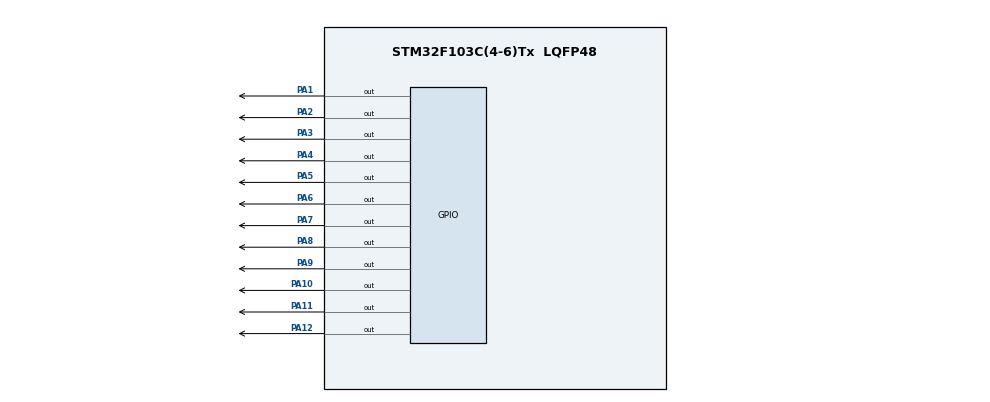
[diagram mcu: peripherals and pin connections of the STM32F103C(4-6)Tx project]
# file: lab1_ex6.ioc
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Mcu.Family=STM32F1
Mcu.Name=STM32F103C(4-6)Tx
Mcu.Package=LQFP48
NVIC.PriorityGroup=NVIC_PRIORITYGROUP_4
PA1.Signal=GPIO_Output
PA10.Signal=GPIO_Output
PA11.Signal=GPIO_Output
PA12.Signal=GPIO_Output
PA2.Signal=GPIO_Output
PA3.Signal=GPIO_Output
PA4.Signal=GPIO_Output
PA5.Signal=GPIO_Output
PA6.Signal=GPIO_Output
PA7.Signal=GPIO_Output
PA8.Signal=GPIO_Output
PA9.Signal=GPIO_Output
ProjectManager.HeapSize=0x200
ProjectManager.StackSize=0x400
ProjectManager.TargetToolchain=STM32CubeIDE
RCC.APB1Freq_Value=8000000
RCC.APB2Freq_Value=8000000
VP_SYS_VS_ND.Mode=No_Debug
board=custom

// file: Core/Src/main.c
/* USER CODE BEGIN Header */
/**
  ******************************************************************************
  * @file           : main.c
  * @brief          : Main program body
  ******************************************************************************
  * @attention
  *
  * <h2><center>&copy; Copyright (c) 2026 STMicroelectronics.
  * All rights reserved.</center></h2>
  *
  * This software component is licensed by ST under BSD 3-Clause license,
  * the "License"; You may not use this file except in compliance with the
  * License. You may obtain a copy of the License at:
  *                        opensource.org/licenses/BSD-3-Clause
  *
  ******************************************************************************
  */
/* USER CODE END Header */
#include "main.h"

void SystemClock_Config(void);
static void MX_GPIO_Init(void);

/* USER CODE BEGIN 0 */
uint16_t clock_pins[12] = {
    GPIO_PIN_1, GPIO_PIN_2, GPIO_PIN_3,
    GPIO_PIN_4, GPIO_PIN_5, GPIO_PIN_6, GPIO_PIN_7,
    GPIO_PIN_8, GPIO_PIN_9, GPIO_PIN_10, GPIO_PIN_11, GPIO_PIN_12
};

void clearAllClock(void) {
    for (int i = 0; i < 12; i++) {
        HAL_GPIO_WritePin(GPIOA, clock_pins[i], GPIO_PIN_SET);
    }
}

void setNumberOnClock(int num) {
    if (num >= 0 && num < 12) {
        HAL_GPIO_WritePin(GPIOA, clock_pins[num], GPIO_PIN_RESET);
    }
}

void clearNumberOnClock(int num) {
    if (num >= 0 && num < 12) {
        HAL_GPIO_WritePin(GPIOA, clock_pins[num], GPIO_PIN_SET);
    }
}
/* USER CODE END 0 */

int main(void)
{

  /* MCU Configuration--------------------------------------------------------*/

  /* Reset of all peripherals, Initializes the Flash interface and the Systick. */
  HAL_Init();

  /* Configure the system clock */
  SystemClock_Config();

  /* Initialize all configured peripherals */
  MX_GPIO_Init();
  /* USER CODE BEGIN 2 */
  int h =1, m=2, s=3;

  /* USER CODE END 2 */

  /* Infinite loop */
  /* USER CODE BEGIN WHILE */
  while (1)
  {
	  clearAllClock();
	  int h_pos = h % 12;
	  int m_pos = m / 5;
	  int s_pos = s / 5;

	  setNumberOnClock(h_pos);
	  setNumberOnClock(m_pos);
	  setNumberOnClock(s_pos);

	  s++;
	  if(s>=60){
		  m++;
		  s=0;
	  }
	  if(m>=60){
		  h++;
		  m=0;
	  }
	  if(h>=12){
		  h=0;
	  }

	  HAL_Delay(50);
    /* USER CODE END WHILE */

  }
}

void SystemClock_Config(void)
{
  RCC_OscInitTypeDef RCC_OscInitStruct = {0};
  RCC_ClkInitTypeDef RCC_ClkInitStruct = {0};

  /** Initializes the RCC Oscillators according to the specified parameters
  * in the RCC_OscInitTypeDef structure.
  */
  RCC_OscInitStruct.OscillatorType = RCC_OSCILLATORTYPE_HSI;
  RCC_OscInitStruct.HSIState = RCC_HSI_ON;
  RCC_OscInitStruct.HSICalibrationValue = RCC_HSICALIBRATION_DEFAULT;
  RCC_OscInitStruct.PLL.PLLState = RCC_PLL_NONE;
  if (HAL_RCC_OscConfig(&RCC_OscInitStruct) != HAL_OK)
  {
    Error_Handler();
  }
  /** Initializes the CPU, AHB and APB buses clocks
  */
  RCC_ClkInitStruct.ClockType = RCC_CLOCKTYPE_HCLK|RCC_CLOCKTYPE_SYSCLK
                              |RCC_CLOCKTYPE_PCLK1|RCC_CLOCKTYPE_PCLK2;
  RCC_ClkInitStruct.SYSCLKSource = RCC_SYSCLKSOURCE_HSI;
  RCC_ClkInitStruct.AHBCLKDivider = RCC_SYSCLK_DIV1;
  RCC_ClkInitStruct.APB1CLKDivider = RCC_HCLK_DIV1;
  RCC_ClkInitStruct.APB2CLKDivider = RCC_HCLK_DIV1;

  if (HAL_RCC_ClockConfig(&RCC_ClkInitStruct, FLASH_LATENCY_0) != HAL_OK)
  {
    Error_Handler();
  }
}

static void MX_GPIO_Init(void)
{
  GPIO_InitTypeDef GPIO_InitStruct = {0};

  /* GPIO Ports Clock Enable */
  __HAL_RCC_GPIOA_CLK_ENABLE();

  /*Configure GPIO pin Output Level */
  HAL_GPIO_WritePin(GPIOA, GPIO_PIN_1|GPIO_PIN_2|GPIO_PIN_3|GPIO_PIN_4
                          |GPIO_PIN_5|GPIO_PIN_6|GPIO_PIN_7|GPIO_PIN_8
                          |GPIO_PIN_9|GPIO_PIN_10|GPIO_PIN_11|GPIO_PIN_12, GPIO_PIN_RESET);

  /*Configure GPIO pins : PA1 PA2 PA3 PA4
                           PA5 PA6 PA7 PA8
                           PA9 PA10 PA11 PA12 */
  GPIO_InitStruct.Pin = GPIO_PIN_1|GPIO_PIN_2|GPIO_PIN_3|GPIO_PIN_4
                          |GPIO_PIN_5|GPIO_PIN_6|GPIO_PIN_7|GPIO_PIN_8
                          |GPIO_PIN_9|GPIO_PIN_10|GPIO_PIN_11|GPIO_PIN_12;
  GPIO_InitStruct.Mode = GPIO_MODE_OUTPUT_PP;
  GPIO_InitStruct.Pull = GPIO_NOPULL;
  GPIO_InitStruct.Speed = GPIO_SPEED_FREQ_LOW;
  HAL_GPIO_Init(GPIOA, &GPIO_InitStruct);

}

void Error_Handler(void)
{
  __disable_irq();
  while (1)
  {
  }
}

/************************ (C) COPYRIGHT STMicroelectronics *****END OF FILE****/
